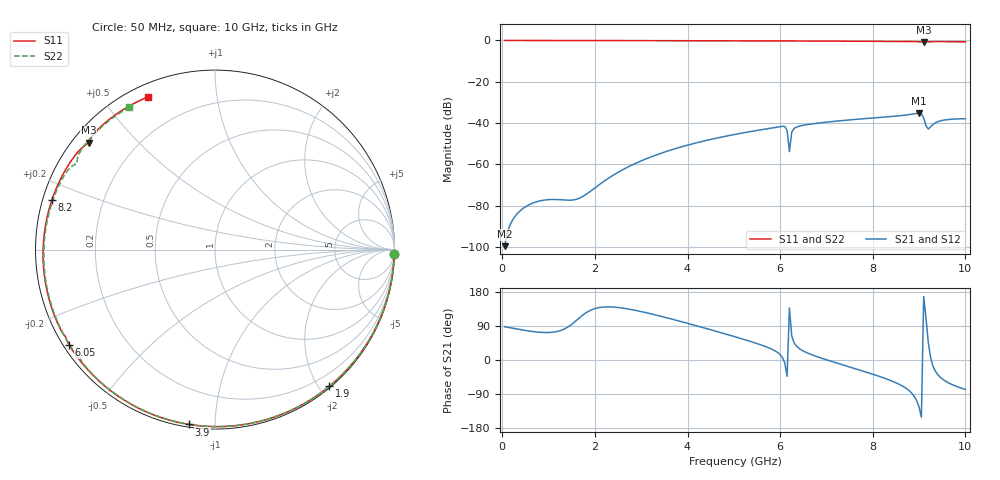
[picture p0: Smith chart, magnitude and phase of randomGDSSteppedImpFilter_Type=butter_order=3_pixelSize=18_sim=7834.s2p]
! freq	dB(S11)	phase(S11)	dB(S12)	phase(S12)
!  dB(S21)	phase(S21)	dB(S22)	phase(S22)
!S-par simulation data
#  GHz  S  DB  R 50
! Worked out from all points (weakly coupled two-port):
!   200 points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, 50 MHz to 10 GHz, reference 50 ohm
!   highest |S21| = -35.16 dB at 9 GHz (marker M1); lowest = -99.6 dB at 50 MHz (marker M2)
!   lowest |S11| = -0.7 dB at 9.1 GHz (marker M3), VSWR 24.40, Z = 2.32 + j18.3 ohm
!   |S11| at or under -10 dB: nowhere
!   |S22| runs from -0.9 to 0.0 dB; largest |S21 - S12| = 0
!   S11 on the Smith chart (normalised r, x): 50 MHz: 4, -84; 1.9 GHz: 0.02, -2.14; 3.9 GHz: 0.01, -0.86; 6.05 GHz: 0.02, -0.30; 8.2 GHz: 0.03, +0.15; 10 GHz: 0.05, +0.65
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0.05  -0.01 -1.4  -99.62 87.9  -99.62 87.9  -0.01 -1.3
0.55  -0.02 -14.8  -79.91 77.0  -79.91 77.0  -0.02 -13.7
0.85  -0.03 -22.8  -77.52 72.8  -77.52 72.8  -0.03 -21.1
1.75  -0.06 -46.2  -75.39 119.6  -75.39 119.6  -0.05 -42.9
1.9  -0.06 -50.0  -73.09 131.0  -73.09 131.0  -0.06 -46.5
2.6  -0.09 -67.5  -62.62 137.0  -62.62 137.0  -0.08 -62.9
3.4  -0.11 -86.8  -54.85 116.2  -54.85 116.2  -0.11 -81.1
3.9  -0.13 -98.4  -51.33 100.1  -51.33 100.1  -0.13 -92.2
5.05  -0.19 -124.4  -45.38 60.5  -45.38 60.5  -0.18 -117.2
6.05  -0.26 -146.7  -41.58 6.6  -41.58 6.6  -0.26 -139.0
6.15  -0.30 -149.1  -43.58 -42.7  -43.58 -42.7  -0.34 -141.3
6.2  -0.32 -149.8  -53.87 137.4  -53.87 137.4  -0.37 -141.7
6.25  -0.29 -150.9  -44.41 63.6  -44.41 63.6  -0.30 -142.7
6.3  -0.28 -152.1  -42.67 45.9  -42.67 45.9  -0.28 -143.9
6.7  -0.30 -161.2  -40.37 13.0  -40.37 13.0  -0.30 -152.9
8.2  -0.45 163.2  -37.20 -45.8  -37.20 -45.8  -0.45 171.7
8.35  -0.46 159.4  -36.94 -52.5  -36.94 -52.5  -0.47 167.8
9  -0.62 141.9  -35.16 -124.5  -35.16 -124.5  -0.69 149.8
9.1  -0.71 139.8  -37.53 167.6  -37.53 167.6  -0.86 148.0
9.2  -0.63 137.6  -42.92 45.4  -42.92 45.4  -0.72 146.2
9.45  -0.59 130.2  -38.99 -44.7  -38.99 -44.7  -0.61 138.4
10  -0.64 113.7  -37.92 -77.7  -37.92 -77.7  -0.66 121.2
